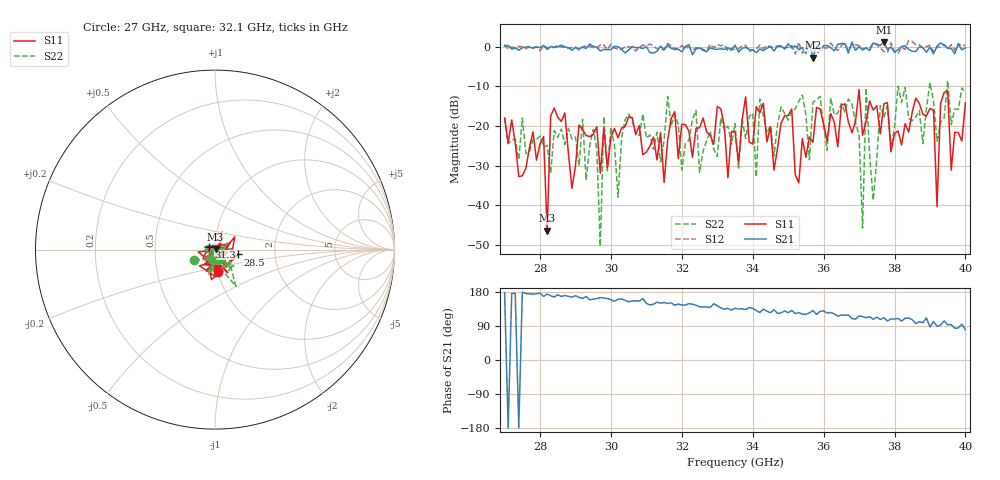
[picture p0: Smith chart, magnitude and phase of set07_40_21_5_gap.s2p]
! Quiescent point : V1=-1.66492E-02 I1=+1.33118E-03 V2=-2.24720E-02 I2=-1.30986E-03
! Pulsed point : V1=-1.63289E-02 I1=+1.29639E-03 V2=-2.20739E-02 I2=-1.31198E-03
! Period : +2.00000E-04
! Input Supply timing : delay=+1.60000E-06 width=+2.20000E-06
! Output Supply timing : delay=+1.70000E-06 width=+2.00000E-06
! VNA timing : delay=+2.40000E-06 width=+1.10000E-06
# Hz S RI R 50
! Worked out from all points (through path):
!   131 points, 27 GHz to 40 GHz, reference 50 ohm
!   highest |S21| = 1.22 dB at 37.7 GHz (marker M1); lowest = -2.7 dB at 35.7 GHz (marker M2)
!   group delay of S21, straight-line fit = 18.7 ps
!   lowest |S11| = -46.5 dB at 28.2 GHz (marker M3), VSWR 1.01, Z = 50.3 + j0.331 ohm
!   |S11| at or under -10 dB: start of sweep to end of sweep
!   |S22| runs from -50.3 to -8.6 dB; largest |S21 - S12| = 0.42
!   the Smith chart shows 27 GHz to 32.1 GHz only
!   S11 on the Smith chart (normalised r, x): 27 GHz: 1.00, -0.25; 28.5 GHz: 1.29, -0.07; 31.3 GHz: 0.94, +0.03; 32.1 GHz: 1.01, -0.21
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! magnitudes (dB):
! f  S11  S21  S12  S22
! 27 GHz  -18.0  0.2  0.6  -17.9
! 28.1 GHz  -22.6  0.3  0.2  -25.3
! 28.2 GHz  -46.5  -0.7  -0.2  -24.9
! 28.5 GHz  -17.8  0.0  0.4  -22.9
! 29.2 GHz  -20.9  -0.1  0.0  -18.3
! 29.7 GHz  -31.9  -1.0  0.5  -50.3
! 29.8 GHz  -20.6  -0.6  0.5  -17.6
! 31.3 GHz  -28.6  -1.1  -0.5  -21.6
! 31.4 GHz  -21.7  0.2  -0.8  -29.1
! 32.1 GHz  -19.6  0.1  -0.4  -24.4
! 33.5 GHz  -21.4  0.4  -0.7  -19.4
! 35.7 GHz  -24.1  -2.7  -0.8  -14.0
! 36.8 GHz  -21.7  1.2  0.6  -14.4
! 37.1 GHz  -22.4  -0.8  -0.6  -45.8
! 37.2 GHz  -18.8  -0.3  -0.3  -10.3
! 37.4 GHz  -16.0  0.9  1.0  -38.7
! 37.7 GHz  -14.4  1.2  -1.2  -17.8
! 37.9 GHz  -26.5  0.0  1.0  -25.4
! 39.1 GHz  -16.0  -1.8  -1.3  -13.6
! 39.2 GHz  -40.3  0.2  -0.1  -23.8
! 39.3 GHz  -14.3  1.0  -0.1  -19.0
! 40 GHz  -14.2  -0.3  0.5  -11.7
